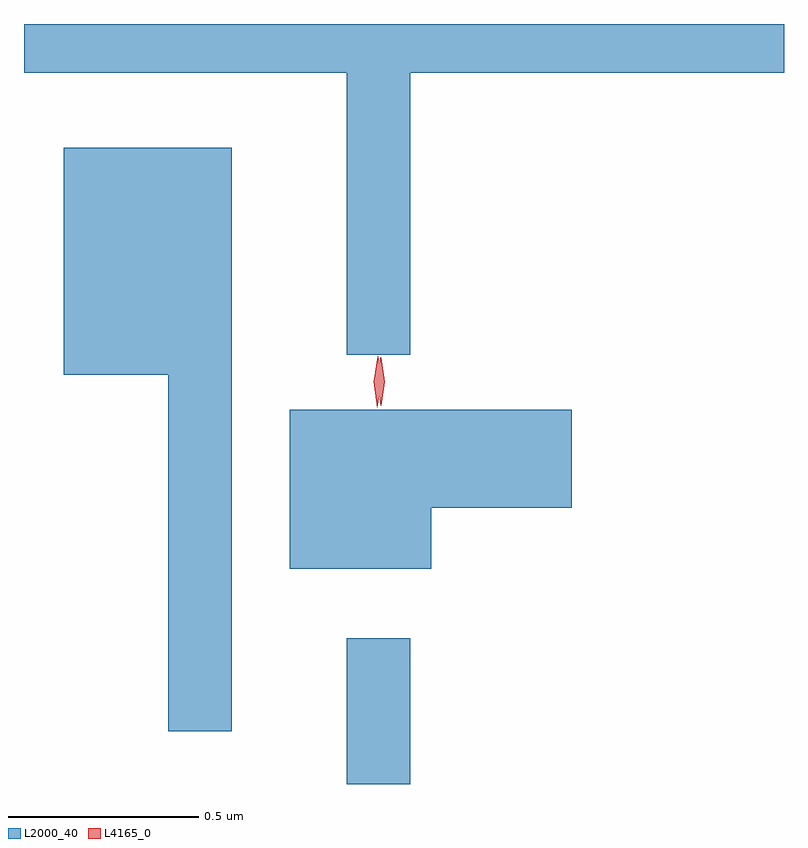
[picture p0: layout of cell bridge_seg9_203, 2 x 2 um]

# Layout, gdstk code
import gdstk
lib = gdstk.Library(unit=1e-6, precision=1e-09)
def R(c, l, rs):  # rectangles x0, y0, x1, y1
    for r in rs: c.add(gdstk.rectangle(r[:2], r[2:], *l))
def P(c, l, *ps):  # polygons
    for p in ps: c.add(gdstk.Polygon(p, *l))
L2000_40 = (2000, 40)
L4165_0 = (4165, 0)

bridge_seg9_203 = lib.new_cell('bridge_seg9_203')
R(bridge_seg9_203, L2000_40, [(1181.711,1983.284,1181.879,1983.668)])
P(bridge_seg9_203, L2000_40, [(1181.879,1985.156),(1182.862,1985.156),(1182.862,1985.284),(1180.862,1985.284),(1180.862,1985.156),(1181.711,1985.156),(1181.711,1984.413),(1181.879,1984.413)],
  [(1181.409,1984.959),(1180.966,1984.959),(1180.966,1984.361),(1181.241,1984.361),(1181.241,1983.423),(1181.409,1983.423)],
  [(1181.934,1984.011),(1182.304,1984.011),(1182.304,1984.269),(1181.561,1984.269),(1181.561,1983.851),(1181.934,1983.851)])
P(bridge_seg9_203, L4165_0, [(1181.791,1984.274),(1181.782,1984.342),(1181.793,1984.41),(1181.793,1984.41),(1181.794,1984.41),(1181.802,1984.342),(1181.792,1984.274),(1181.792,1984.274)],
  [(1181.801,1984.28),(1181.791,1984.343),(1181.8,1984.406),(1181.801,1984.407),(1181.802,1984.406),(1181.811,1984.343),(1181.802,1984.28),(1181.802,1984.28)])

lib.write_gds('bridge_seg9_203.gds')
